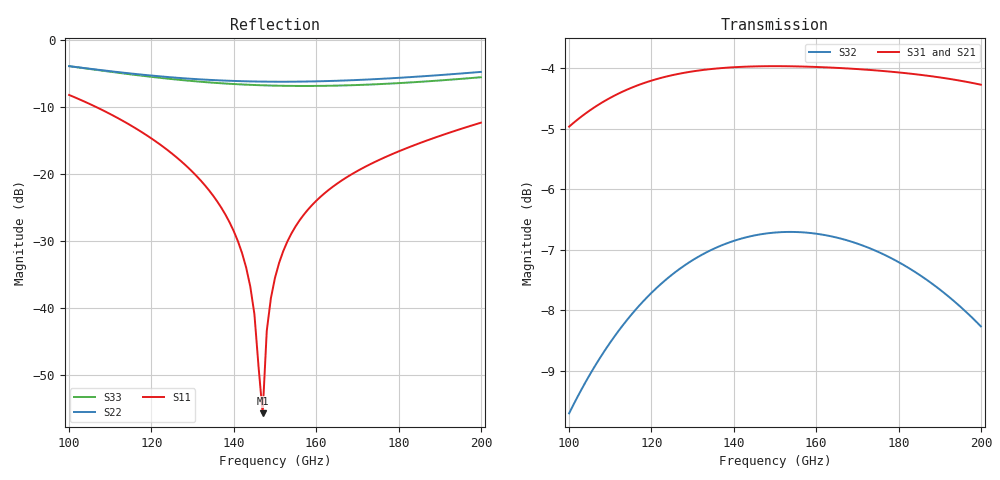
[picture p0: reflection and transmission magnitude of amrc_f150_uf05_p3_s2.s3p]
! Created with skrf 2.1.0 (http://scikit-rf.org).
# GHz S DB R 50.0
! Port[1] = P1
! Port[2] = P2
! Port[3] = P3
!freq dBS11 angS11 dBS12 angS12 dBS13 angS13
! dBS21 angS21 dBS22 angS22 dBS23 angS23
! dBS31 angS31 dBS32 angS32 dBS33 angS33
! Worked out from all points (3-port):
!   101 points, 100 GHz to 200 GHz, reference 50 ohm
!   strongest paths, dB at 100 GHz, 125 GHz, 150 GHz, 175 GHz, 200 GHz:
!     S31: -5.0, -4.1, -4.0, -4.0, -4.3
!     S21: -4.7, -4.0, -4.0, -4.2, -4.7
!     S32: -9.7, -7.4, -6.7, -7.0, -8.3
!   lowest |S11| = -55.7 dB at 147 GHz (marker M1), VSWR 1.00, Z = 50 - j0.164 ohm
!   |S11| at or under -10 dB: 106.4 GHz to end of sweep
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100  -8.26 129.6  -4.73 -10.6  -4.96 165.8
     -4.73 -10.6  -3.97 60.2  -9.70 90.9
     -4.96 165.8  -9.70 90.9  -3.97 50.5
123  -16.05 99.4  -4.03 -45.2  -4.15 129.2
     -4.03 -45.2  -5.54 40.2  -7.52 56.9
     -4.15 129.2  -7.52 56.9  -5.77 27.4
137  -25.09 86.0  -3.95 -64.1  -4.00 109.3
     -3.95 -64.1  -6.10 29.9  -6.93 38.1
     -4.00 109.3  -6.93 38.1  -6.52 15.9
144  -36.81 79.5  -3.96 -73.0  -3.97 99.8
     -3.96 -73.0  -6.24 25.0  -6.78 29.1
     -3.97 99.8  -6.78 29.1  -6.75 10.6
147  -55.69 -87.4  -3.97 -76.7  -3.97 95.8
     -3.97 -76.7  -6.27 22.8  -6.74 25.4
     -3.97 95.8  -6.74 25.4  -6.82 8.3
148  -43.40 -98.4  -3.97 -78.0  -3.96 94.5
     -3.97 -78.0  -6.28 22.1  -6.73 24.1
     -3.96 94.5  -6.73 24.1  -6.84 7.6
150  -35.49 -101.6  -3.98 -80.5  -3.96 91.9
     -3.98 -80.5  -6.29 20.7  -6.71 21.7
     -3.96 91.9  -6.71 21.7  -6.87 6.1
155  -27.84 -105.2  -4.01 -86.6  -3.97 85.4
     -4.01 -86.6  -6.28 17.1  -6.71 15.5
     -3.97 85.4  -6.71 15.5  -6.92 2.3
164  -21.95 -110.2  -4.08 -97.4  -3.99 74.0
     -4.08 -97.4  -6.17 10.3  -6.78 4.7
     -3.99 74.0  -6.78 4.7  -6.88 -4.5
200  -12.39 -130.1  -4.65 -140.7  -4.27 28.5
     -4.65 -140.7  -4.83 -20.5  -8.27 -37.5
     -4.27 28.5  -8.27 -37.5  -5.62 -34.7
